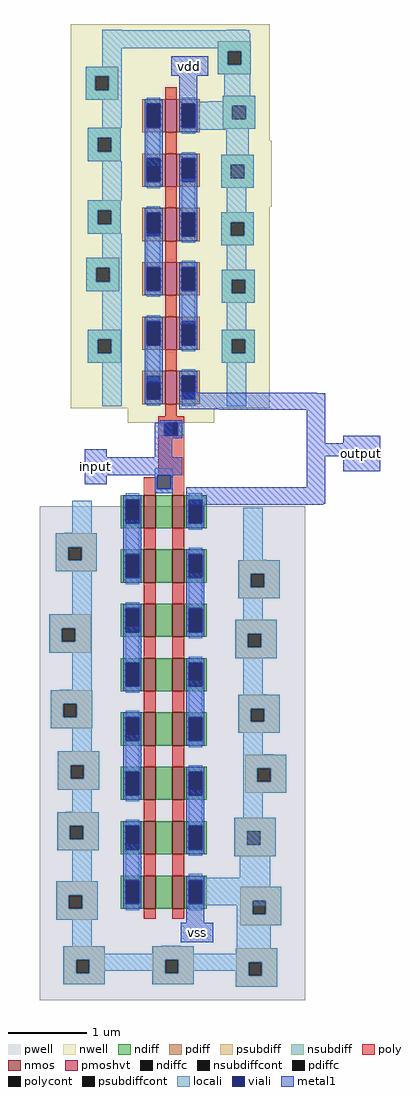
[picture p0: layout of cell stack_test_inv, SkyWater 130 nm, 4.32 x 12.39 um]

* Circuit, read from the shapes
.subckt stack_test_inv vdd vss input output
XM1 n1 input n2 vss sky130_fd_pr__nfet_01v8 w=0.42 l=0.15
XM2 n3 input n2 vss sky130_fd_pr__nfet_01v8 w=0.42 l=0.15
XM3 n4 input n5 vss sky130_fd_pr__nfet_01v8 w=0.42 l=0.15
XM4 n6 input n5 vss sky130_fd_pr__nfet_01v8 w=0.42 l=0.15
XM5 n7 input n8 vss sky130_fd_pr__nfet_01v8 w=0.42 l=0.15
XM6 n9 input n8 vss sky130_fd_pr__nfet_01v8 w=0.42 l=0.15
XM7 n10 input n11 vss sky130_fd_pr__nfet_01v8 w=0.42 l=0.15
XM8 n12 input n11 vss sky130_fd_pr__nfet_01v8 w=0.42 l=0.15
XM9 vss input n1 vss sky130_fd_pr__nfet_01v8 w=0.42 l=0.15
XM10 n13 input n3 vss sky130_fd_pr__nfet_01v8 w=0.42 l=0.15
XM11 n13 input n4 vss sky130_fd_pr__nfet_01v8 w=0.42 l=0.15
XM12 n14 input n6 vss sky130_fd_pr__nfet_01v8 w=0.42 l=0.15
XM13 n14 input n7 vss sky130_fd_pr__nfet_01v8 w=0.42 l=0.15
XM14 n15 input n9 vss sky130_fd_pr__nfet_01v8 w=0.42 l=0.15
XM15 n15 input n10 vss sky130_fd_pr__nfet_01v8 w=0.42 l=0.15
XM16 output input n12 vss sky130_fd_pr__nfet_01v8 w=0.42 l=0.15
XM17 output input n16 vdd sky130_fd_pr__pfet_01v8_hvt w=0.42 l=0.15
XM18 n17 input n16 vdd sky130_fd_pr__pfet_01v8_hvt w=0.42 l=0.15
XM19 n17 input n18 vdd sky130_fd_pr__pfet_01v8_hvt w=0.42 l=0.15
XM20 n19 input n18 vdd sky130_fd_pr__pfet_01v8_hvt w=0.42 l=0.15
XM21 n19 input n20 vdd sky130_fd_pr__pfet_01v8_hvt w=0.42 l=0.15
XM22 vdd input n20 vdd sky130_fd_pr__pfet_01v8_hvt w=0.42 l=0.15
.ends

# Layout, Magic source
magic
tech sky130A
magscale 1 2
<< nwell >>
rect -98 1296 408 2272
<< pwell >>
rect -176 -206 498 1048
<< psubdiff >>
rect -135 944 -31 979
rect -135 910 -104 944
rect -70 910 -31 944
rect -135 882 -31 910
rect 329 876 433 911
rect 329 842 360 876
rect 394 842 433 876
rect 329 814 433 842
rect -151 738 -47 773
rect -151 704 -120 738
rect -86 704 -47 738
rect -151 676 -47 704
rect 321 724 425 759
rect 321 690 352 724
rect 386 690 425 724
rect 321 662 425 690
rect -147 546 -43 581
rect -147 512 -116 546
rect -82 512 -43 546
rect -147 484 -43 512
rect 329 534 433 569
rect 329 500 360 534
rect 394 500 433 534
rect 329 472 433 500
rect -129 390 -25 425
rect -129 356 -98 390
rect -64 356 -25 390
rect -129 328 -25 356
rect 345 382 449 417
rect 345 348 376 382
rect 410 348 449 382
rect 345 320 449 348
rect -131 236 -27 271
rect -131 202 -100 236
rect -66 202 -27 236
rect -131 174 -27 202
rect -133 60 -29 95
rect -133 26 -102 60
rect -68 26 -29 60
rect -133 -2 -29 26
rect 333 46 437 81
rect 333 12 364 46
rect 398 12 437 46
rect 333 -16 437 12
rect -115 -104 -11 -69
rect -115 -138 -84 -104
rect -50 -138 -11 -104
rect -115 -166 -11 -138
rect 111 -104 215 -69
rect 111 -138 142 -104
rect 176 -138 215 -104
rect 111 -166 215 -138
rect 323 -110 427 -75
rect 323 -144 354 -110
rect 388 -144 427 -110
rect 323 -172 427 -144
<< nsubdiff >>
rect 276 2203 359 2228
rect 276 2168 301 2203
rect 335 2168 359 2203
rect -60 2139 23 2164
rect 276 2144 359 2168
rect -60 2104 -35 2139
rect -1 2104 23 2139
rect -60 2080 23 2104
rect 288 2065 371 2090
rect 288 2030 313 2065
rect 347 2030 371 2065
rect -54 1983 29 2008
rect 288 2006 371 2030
rect -54 1948 -29 1983
rect 5 1948 29 1983
rect -54 1924 29 1948
rect -54 1799 29 1824
rect -54 1764 -29 1799
rect 5 1764 29 1799
rect -54 1740 29 1764
rect 284 1769 367 1794
rect 284 1734 309 1769
rect 343 1734 367 1769
rect 284 1710 367 1734
rect -58 1653 25 1678
rect -58 1618 -33 1653
rect 1 1618 25 1653
rect -58 1594 25 1618
rect 286 1623 369 1648
rect 286 1588 311 1623
rect 345 1588 369 1623
rect 286 1564 369 1588
rect -54 1471 29 1496
rect -54 1436 -29 1471
rect 5 1436 29 1471
rect -54 1412 29 1436
rect 286 1471 369 1496
rect 286 1436 311 1471
rect 345 1436 369 1471
rect 286 1412 369 1436
<< psubdiffcont >>
rect -104 910 -70 944
rect 360 842 394 876
rect -120 704 -86 738
rect 352 690 386 724
rect -116 512 -82 546
rect 360 500 394 534
rect -98 356 -64 390
rect 376 348 410 382
rect -100 202 -66 236
rect -102 26 -68 60
rect 364 12 398 46
rect -84 -138 -50 -104
rect 142 -138 176 -104
rect 354 -144 388 -110
<< nsubdiffcont >>
rect 301 2168 335 2203
rect -35 2104 -1 2139
rect 313 2030 347 2065
rect -29 1948 5 1983
rect -29 1764 5 1799
rect 309 1734 343 1769
rect -33 1618 1 1653
rect 311 1588 345 1623
rect -29 1436 5 1471
rect 311 1436 345 1471
<< poly >>
rect 124 1098 190 1222
<< locali >>
rect -18 2256 32 2258
rect 298 2256 348 2258
rect -18 2248 356 2256
rect -18 2228 358 2248
rect -18 2210 359 2228
rect -18 2164 32 2210
rect -60 2139 32 2164
rect 276 2203 359 2210
rect 276 2168 301 2203
rect 335 2168 359 2203
rect 276 2144 359 2168
rect -60 2104 -35 2139
rect -1 2104 32 2139
rect -60 2080 32 2104
rect 292 2090 358 2144
rect -18 2008 32 2080
rect 288 2065 371 2090
rect 288 2030 313 2065
rect 347 2030 371 2065
rect -54 1983 29 2008
rect 288 2006 371 2030
rect -54 1948 -29 1983
rect 5 1948 29 1983
rect -54 1924 29 1948
rect -18 1824 32 1924
rect 96 1912 130 1996
rect -54 1799 29 1824
rect -54 1764 -29 1799
rect 5 1764 29 1799
rect 184 1796 218 1880
rect 298 1794 348 2006
rect -54 1740 29 1764
rect 284 1769 367 1794
rect -18 1678 32 1740
rect -58 1653 32 1678
rect 96 1656 130 1740
rect 284 1734 309 1769
rect 343 1734 367 1769
rect 284 1710 367 1734
rect -58 1618 -33 1653
rect 1 1618 32 1653
rect 298 1648 348 1710
rect -58 1594 32 1618
rect 286 1623 369 1648
rect -18 1496 32 1594
rect 184 1510 218 1594
rect 286 1588 311 1623
rect 345 1588 369 1623
rect 286 1564 369 1588
rect 298 1496 348 1564
rect -54 1471 32 1496
rect -54 1436 -29 1471
rect 5 1436 32 1471
rect 286 1471 369 1496
rect -54 1412 32 1436
rect -18 1302 32 1412
rect 96 1362 130 1446
rect 286 1436 311 1471
rect 345 1436 369 1471
rect 286 1412 369 1436
rect 298 1302 348 1412
rect 116 1126 162 1144
rect 116 1092 122 1126
rect 156 1092 162 1126
rect 116 1080 162 1092
rect -94 980 -44 1062
rect -114 979 -44 980
rect -136 944 -31 979
rect -136 910 -104 944
rect -70 910 -31 944
rect 42 928 76 1012
rect 340 912 390 1044
rect 340 911 400 912
rect -136 882 -31 910
rect -94 774 -44 882
rect 202 794 236 878
rect 328 876 433 911
rect 328 842 360 876
rect 394 842 433 876
rect 328 814 433 842
rect -130 773 -44 774
rect -152 738 -44 773
rect 340 760 390 814
rect 340 759 392 760
rect -152 704 -120 738
rect -86 704 -44 738
rect -152 676 -44 704
rect -94 582 -44 676
rect 42 658 76 742
rect 320 724 425 759
rect 320 690 352 724
rect 386 690 425 724
rect 320 662 425 690
rect -126 581 -44 582
rect -148 546 -43 581
rect -148 512 -116 546
rect -82 512 -43 546
rect 202 520 236 604
rect 340 570 390 662
rect 340 569 400 570
rect 328 534 433 569
rect -148 484 -43 512
rect 328 500 360 534
rect 394 500 433 534
rect -94 426 -44 484
rect 328 472 433 500
rect -108 425 -44 426
rect -130 390 -25 425
rect -130 356 -98 390
rect -64 356 -25 390
rect 42 382 76 466
rect 340 418 390 472
rect 340 417 416 418
rect 340 382 449 417
rect -130 328 -25 356
rect 340 348 376 382
rect 410 348 449 382
rect -94 272 -44 328
rect -110 271 -44 272
rect -132 236 -27 271
rect 202 242 236 326
rect 340 320 449 348
rect -132 202 -100 236
rect -66 202 -27 236
rect -132 174 -27 202
rect -94 96 -44 174
rect 42 106 76 190
rect -112 95 -44 96
rect -134 60 -29 95
rect 340 88 390 320
rect 348 82 384 88
rect 348 81 404 82
rect -134 26 -102 60
rect -68 26 -29 60
rect 332 46 437 81
rect 332 44 364 46
rect -134 -2 -29 26
rect 324 12 364 44
rect 398 12 437 46
rect -94 -69 -44 -2
rect 324 -16 437 12
rect 132 -69 182 -68
rect -116 -88 -11 -69
rect 110 -88 215 -69
rect 324 -75 410 -16
rect 322 -88 427 -75
rect -116 -104 427 -88
rect -116 -138 -84 -104
rect -50 -132 142 -104
rect -50 -138 -11 -132
rect -116 -166 -11 -138
rect 110 -138 142 -132
rect 176 -110 427 -104
rect 176 -132 354 -110
rect 176 -138 215 -132
rect 110 -166 215 -138
rect 322 -144 354 -132
rect 388 -144 427 -110
rect 322 -172 427 -144
<< viali >>
rect 122 1092 156 1126
<< metal1 >>
rect 158 2140 252 2190
rect 178 2078 224 2140
rect 184 1796 218 1880
rect 96 1656 130 1740
rect 184 1510 218 1594
rect 96 1362 130 1446
rect 180 1334 528 1336
rect 180 1312 548 1334
rect 178 1294 548 1312
rect 280 1292 548 1294
rect -62 1172 -6 1192
rect 116 1172 160 1260
rect 502 1208 548 1292
rect 594 1208 688 1226
rect 502 1174 688 1208
rect -62 1126 186 1172
rect -62 1104 -6 1126
rect 116 1092 122 1126
rect 156 1092 162 1126
rect 502 1096 548 1174
rect 594 1136 688 1174
rect 116 1080 162 1092
rect 196 1054 548 1096
rect 196 1052 544 1054
rect 196 -10 242 34
rect 182 -60 264 -10
use hgu_nfet_hvt_stack_in_delay  hgu_nfet_hvt_stack_in_delay_0
transform -1 0 333 0 1 235
box -90 -235 303 886
use hgu_pfet_hvt_stack_in_delay  hgu_pfet_hvt_stack_in_delay_0
transform -1 0 315 0 -1 2157
box -98 40 268 947
<< labels >>
flabel metal1 182 -60 264 -10 0 FreeSans 320 0 0 0 vss
port 1 nsew
flabel metal1 -62 1104 -6 1192 0 FreeSans 320 0 0 0 input
port 2 nsew
flabel metal1 158 2140 252 2190 0 FreeSans 320 0 0 0 vdd
port 0 nsew
flabel metal1 594 1136 688 1226 0 FreeSans 320 0 0 0 output
port 4 nsew
<< end >>

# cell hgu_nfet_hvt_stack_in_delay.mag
magic
tech sky130A
magscale 1 2
<< nmos >>
rect 143 757 173 841
rect 215 757 245 841
rect 143 619 173 703
rect 215 619 245 703
rect 143 481 173 565
rect 215 481 245 565
rect 143 343 173 427
rect 215 343 245 427
rect 143 205 173 289
rect 215 205 245 289
rect 143 67 173 151
rect 215 67 245 151
rect 143 -71 173 13
rect 215 -71 245 13
rect 143 -209 173 -125
rect 215 -209 245 -125
<< ndiff >>
rect 85 829 143 841
rect 85 769 97 829
rect 131 769 143 829
rect 85 757 143 769
rect 173 757 215 841
rect 245 829 303 841
rect 245 769 257 829
rect 291 769 303 829
rect 245 757 303 769
rect 85 691 143 703
rect 85 631 97 691
rect 131 631 143 691
rect 85 619 143 631
rect 173 619 215 703
rect 245 691 303 703
rect 245 631 257 691
rect 291 631 303 691
rect 245 619 303 631
rect 85 553 143 565
rect 85 493 97 553
rect 131 493 143 553
rect 85 481 143 493
rect 173 481 215 565
rect 245 553 303 565
rect 245 493 257 553
rect 291 493 303 553
rect 245 481 303 493
rect 85 415 143 427
rect 85 355 97 415
rect 131 355 143 415
rect 85 343 143 355
rect 173 343 215 427
rect 245 415 303 427
rect 245 355 257 415
rect 291 355 303 415
rect 245 343 303 355
rect 85 277 143 289
rect 85 217 97 277
rect 131 217 143 277
rect 85 205 143 217
rect 173 205 215 289
rect 245 277 303 289
rect 245 217 257 277
rect 291 217 303 277
rect 245 205 303 217
rect 85 139 143 151
rect 85 79 97 139
rect 131 79 143 139
rect 85 67 143 79
rect 173 67 215 151
rect 245 139 303 151
rect 245 79 257 139
rect 291 79 303 139
rect 245 67 303 79
rect 85 1 143 13
rect 85 -59 97 1
rect 131 -59 143 1
rect 85 -71 143 -59
rect 173 -71 215 13
rect 245 1 303 13
rect 245 -59 257 1
rect 291 -59 303 1
rect 245 -71 303 -59
rect 85 -137 143 -125
rect 85 -197 97 -137
rect 131 -197 143 -137
rect 85 -209 143 -197
rect 173 -209 215 -125
rect 245 -137 303 -125
rect 245 -197 257 -137
rect 291 -197 303 -137
rect 245 -209 303 -197
<< ndiffc >>
rect 97 769 131 829
rect 257 769 291 829
rect 97 631 131 691
rect 257 631 291 691
rect 97 493 131 553
rect 257 493 291 553
rect 97 355 131 415
rect 257 355 291 415
rect 97 217 131 277
rect 257 217 291 277
rect 97 79 131 139
rect 257 79 291 139
rect 97 -59 131 1
rect 257 -59 291 1
rect 97 -197 131 -137
rect 257 -197 291 -137
<< psubdiff >>
rect -90 -13 14 22
rect -90 -47 -51 -13
rect -17 -47 14 -13
rect -90 -76 14 -47
<< psubdiffcont >>
rect -51 -47 -17 -13
<< poly >>
rect 143 856 245 886
rect 143 841 173 856
rect 215 841 245 856
rect 143 703 173 757
rect 215 703 245 757
rect 143 565 173 619
rect 215 565 245 619
rect 143 427 173 481
rect 215 427 245 481
rect 143 289 173 343
rect 215 289 245 343
rect 143 151 173 205
rect 215 151 245 205
rect 143 13 173 67
rect 215 13 245 67
rect 143 -125 173 -71
rect 215 -125 245 -71
rect 143 -235 173 -209
rect 215 -235 245 -209
<< locali >>
rect 97 829 131 845
rect 97 753 131 769
rect 257 829 291 845
rect 257 753 291 769
rect 97 691 131 707
rect 97 615 131 631
rect 257 691 291 707
rect 257 615 291 631
rect 97 553 131 569
rect 97 477 131 493
rect 257 553 291 569
rect 257 477 291 493
rect 97 415 131 431
rect 97 339 131 355
rect 257 415 291 431
rect 257 339 291 355
rect 97 277 131 293
rect 97 201 131 217
rect 257 277 291 293
rect 257 201 291 217
rect 97 139 131 155
rect 97 63 131 79
rect 257 139 291 155
rect 257 63 291 79
rect -90 -13 15 22
rect -90 -47 -51 -13
rect -17 -47 15 -13
rect -90 -76 15 -47
rect 97 1 131 17
rect 97 -75 131 -59
rect 257 1 291 17
rect 257 -75 291 -59
rect -76 -131 1 -76
rect 97 -131 131 -121
rect -76 -137 131 -131
rect -76 -197 97 -137
rect -76 -200 131 -197
rect 97 -213 131 -200
rect 257 -137 291 -121
rect 257 -213 291 -197
<< viali >>
rect 97 769 131 829
rect 257 769 291 829
rect 97 631 131 691
rect 257 631 291 691
rect 97 493 131 553
rect 257 493 291 553
rect 97 355 131 415
rect 257 355 291 415
rect 97 217 131 277
rect 257 217 291 277
rect 97 79 131 139
rect 257 79 291 139
rect 97 -59 131 1
rect 257 -59 291 1
rect 97 -197 131 -137
rect 257 -197 291 -137
<< metal1 >>
rect 91 829 137 841
rect 91 769 97 829
rect 131 769 137 829
rect 91 757 137 769
rect 251 829 297 841
rect 251 769 257 829
rect 291 769 297 829
rect 91 691 137 703
rect 91 631 97 691
rect 131 631 137 691
rect 91 553 137 631
rect 251 691 297 769
rect 251 631 257 691
rect 291 631 297 691
rect 251 619 297 631
rect 91 493 97 553
rect 131 493 137 553
rect 91 481 137 493
rect 251 553 297 565
rect 251 493 257 553
rect 291 493 297 553
rect 91 415 137 427
rect 91 355 97 415
rect 131 355 137 415
rect 91 277 137 355
rect 251 415 297 493
rect 251 355 257 415
rect 291 355 297 415
rect 251 343 297 355
rect 91 217 97 277
rect 131 217 137 277
rect 91 205 137 217
rect 251 277 297 289
rect 251 217 257 277
rect 291 217 297 277
rect 91 139 137 151
rect 91 79 97 139
rect 131 79 137 139
rect 91 1 137 79
rect 251 139 297 217
rect 251 79 257 139
rect 291 79 297 139
rect 251 67 297 79
rect 91 -59 97 1
rect 131 -59 137 1
rect 91 -71 137 -59
rect 251 1 297 13
rect 251 -59 257 1
rect 291 -59 297 1
rect 91 -137 137 -125
rect 91 -197 97 -137
rect 131 -197 137 -137
rect 91 -209 137 -197
rect 251 -137 297 -59
rect 251 -197 257 -137
rect 291 -197 297 -137
rect 251 -209 297 -197
<< labels >>
flabel poly 143 856 245 886 0 FreeSans 320 0 0 0 input_stack
port 0 nsew
flabel metal1 97 -197 131 -137 0 FreeSans 320 0 0 0 vss
port 3 nsew
flabel metal1 91 829 137 841 0 FreeSans 320 0 0 0 output_stack
port 5 nsew
<< end >>

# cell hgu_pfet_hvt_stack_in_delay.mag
magic
tech sky130A
magscale 1 2
<< nwell >>
rect 48 349 268 898
rect -98 181 268 349
rect 48 40 268 181
<< pmoshvt >>
rect 143 766 173 850
rect 143 628 173 712
rect 143 490 173 574
rect 143 352 173 436
rect 143 214 173 298
rect 143 76 173 160
<< pdiff >>
rect 85 838 143 850
rect 85 778 97 838
rect 131 778 143 838
rect 85 766 143 778
rect 173 838 231 850
rect 173 778 185 838
rect 219 778 231 838
rect 173 766 231 778
rect 85 700 143 712
rect 85 640 97 700
rect 131 640 143 700
rect 85 628 143 640
rect 173 700 231 712
rect 173 640 185 700
rect 219 640 231 700
rect 173 628 231 640
rect 85 562 143 574
rect 85 502 97 562
rect 131 502 143 562
rect 85 490 143 502
rect 173 562 231 574
rect 173 502 185 562
rect 219 502 231 562
rect 173 490 231 502
rect 85 424 143 436
rect 85 364 97 424
rect 131 364 143 424
rect 85 352 143 364
rect 173 424 231 436
rect 173 364 185 424
rect 219 364 231 424
rect 173 352 231 364
rect 85 286 143 298
rect 85 226 97 286
rect 131 226 143 286
rect 85 214 143 226
rect 173 286 231 298
rect 173 226 185 286
rect 219 226 231 286
rect 173 214 231 226
rect 85 148 143 160
rect 85 88 97 148
rect 131 88 143 148
rect 85 76 143 88
rect 173 148 231 160
rect 173 88 185 148
rect 219 88 231 148
rect 173 76 231 88
<< pdiffc >>
rect 97 778 131 838
rect 185 778 219 838
rect 97 640 131 700
rect 185 640 219 700
rect 97 502 131 562
rect 185 502 219 562
rect 97 364 131 424
rect 185 364 219 424
rect 97 226 131 286
rect 185 226 219 286
rect 97 88 131 148
rect 185 88 219 148
<< nsubdiff >>
rect -52 277 31 301
rect -52 242 -28 277
rect 6 242 31 277
rect -52 217 31 242
<< nsubdiffcont >>
rect -28 242 6 277
<< poly >>
rect 125 931 191 947
rect 125 897 141 931
rect 175 897 191 931
rect 125 881 191 897
rect 143 850 173 881
rect 143 712 173 766
rect 143 574 173 628
rect 143 436 173 490
rect 143 298 173 352
rect 143 160 173 214
rect 143 46 173 76
<< polycont >>
rect 141 897 175 931
<< locali >>
rect 125 897 141 931
rect 175 897 191 931
rect 97 838 131 854
rect 97 762 131 778
rect 185 838 219 854
rect 185 762 219 778
rect 97 700 131 716
rect 97 624 131 640
rect 185 700 219 716
rect 185 624 219 640
rect 97 562 131 578
rect 97 486 131 502
rect 185 562 219 578
rect 185 486 219 502
rect 97 424 131 440
rect 97 348 131 364
rect 185 424 219 440
rect 185 348 219 364
rect -52 277 31 301
rect -52 242 -28 277
rect 6 242 31 277
rect -52 217 31 242
rect 97 286 131 302
rect -39 153 18 217
rect 97 210 131 226
rect 185 286 219 302
rect 185 210 219 226
rect 97 153 131 164
rect -39 148 131 153
rect -39 88 97 148
rect -39 82 131 88
rect -39 81 62 82
rect 97 72 131 82
rect 185 148 219 164
rect 185 72 219 88
<< viali >>
rect 141 897 175 931
rect 97 778 131 838
rect 185 778 219 838
rect 97 640 131 700
rect 185 640 219 700
rect 97 502 131 562
rect 185 502 219 562
rect 97 364 131 424
rect 185 364 219 424
rect 97 226 131 286
rect 185 226 219 286
rect 97 88 131 148
rect 185 88 219 148
<< metal1 >>
rect 129 931 187 937
rect 129 897 141 931
rect 175 897 187 931
rect 129 891 187 897
rect 91 838 137 850
rect 91 778 97 838
rect 131 778 137 838
rect 91 766 137 778
rect 179 838 225 850
rect 179 778 185 838
rect 219 778 225 838
rect 91 700 137 712
rect 91 640 97 700
rect 131 640 137 700
rect 91 562 137 640
rect 179 700 225 778
rect 179 640 185 700
rect 219 640 225 700
rect 179 628 225 640
rect 91 502 97 562
rect 131 502 137 562
rect 91 490 137 502
rect 179 562 225 574
rect 179 502 185 562
rect 219 502 225 562
rect 91 424 137 436
rect 91 364 97 424
rect 131 364 137 424
rect 91 286 137 364
rect 179 424 225 502
rect 179 364 185 424
rect 219 364 225 424
rect 179 352 225 364
rect 91 226 97 286
rect 131 226 137 286
rect 91 214 137 226
rect 179 286 225 298
rect 179 226 185 286
rect 219 226 225 286
rect 91 148 137 160
rect 91 88 97 148
rect 131 88 137 148
rect 91 76 137 88
rect 179 148 225 226
rect 179 88 185 148
rect 219 88 225 148
rect 179 76 225 88
<< labels >>
flabel metal1 141 897 175 931 0 FreeSans 320 0 0 0 input_stack
port 0 nsew
flabel nwell 97 88 131 148 0 FreeSans 320 0 0 0 vdd
port 1 nsew
flabel metal1 91 838 137 850 0 FreeSans 320 0 0 0 output_stack
port 6 nsew
<< end >>
